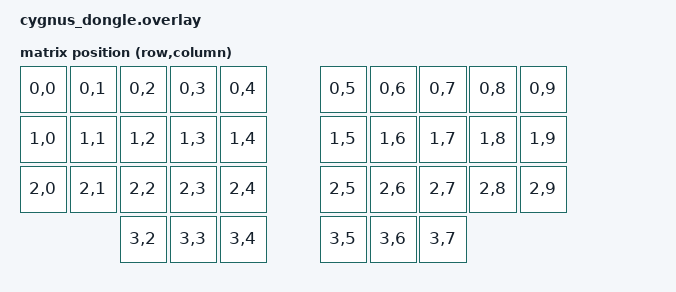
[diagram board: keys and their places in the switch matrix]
#include "cygnus.dtsi"
#include <dt-bindings/xiaord/icons.h>
#include <dt-bindings/zmk/keys.h>
#include <dt-bindings/zmk/outputs.h>
#include <dt-bindings/zmk/matrix_transform.h>

// Dongle has no physical matrix — disable the gpio kscan and use xiaord's mock kscan.
&kscan0 {
    status = "disabled";
};

/ {
    chosen {
        zmk,kscan = &xiaord_mock_kscan;
        zmk,matrix-transform = &default_transform;
    };

    default_transform: keymap_transform_0 {
        compatible = "zmk,matrix-transform";
		columns = <10>;
		rows = <4>;
        row-offset = <4>;
		map = <
				RC(0,0) RC(0,1) RC(0,2) RC(0,3) RC(0,4)         RC(0,5) RC(0,6) RC(0,7) RC(0,8) RC(0,9)
				RC(1,0) RC(1,1) RC(1,2) RC(1,3) RC(1,4)         RC(1,5) RC(1,6) RC(1,7) RC(1,8) RC(1,9)
				RC(2,0) RC(2,1) RC(2,2) RC(2,3) RC(2,4)         RC(2,5) RC(2,6) RC(2,7) RC(2,8) RC(2,9)
								RC(3,2) RC(3,3) RC(3,4)         RC(3,5) RC(3,6) RC(3,7)
		>;
    };
};

// ============================================================
// ICON_* constant definitions:
//   zmk_modules/zmk-module-xiaord/include/dt-bindings/xiaord/icons.h
//
// Each symbol maps 1:1 to an LVGL LV_SYMBOL_* icon.
// Icon reference: https://docs.lvgl.io/9.0/overview/font.html
// ============================================================
// &home_button_0 { symbol = <ICON_UPLOAD>; };     /* 12 o'clock */
// &home_button_1 { symbol = <ICON_KEYBOARD>; };   /*  1 o'clock */
// &home_button_2 { symbol = <ICON_VOLUME_MAX>; }; /*  2 o'clock */
// &home_button_3 { symbol = <ICON_MUTE>; };       /*  3 o'clock */
// &home_button_4 { symbol = <ICON_VOLUME_MID>; }; /*  4 o'clock */
// &home_button_5 { symbol = <ICON_NEXT>; };       /*  5 o'clock */
// &home_button_6 { symbol = <ICON_PLAY>; };       /*  6 o'clock */
// &home_button_7 { symbol = <ICON_PREV>; };       /*  7 o'clock */
// &home_button_8 { symbol = <ICON_WARNING>; };    /*  8 o'clock */
// &home_button_9 { symbol = <ICON_USB>; };        /*  9 o'clock */
// &home_button_10 { symbol = <ICON_BLUETOOTH>; nav-page = <XIAORD_PAGE_BT>; };    /* 10 o'clock */
// &home_button_11 { symbol = <ICON_SETTINGS>; nav-page = <XIAORD_PAGE_CLOCK>; }; /* 11 o'clock */

// &virtual_symbol_behavior {
//     codes = <
//         INPUT_VIRTUAL_POS_0    INPUT_VIRTUAL_POS_1
//         INPUT_VIRTUAL_POS_2    INPUT_VIRTUAL_POS_3
//         INPUT_VIRTUAL_POS_4    INPUT_VIRTUAL_POS_5
//         INPUT_VIRTUAL_POS_6    INPUT_VIRTUAL_POS_7
//         INPUT_VIRTUAL_POS_8    INPUT_VIRTUAL_POS_9
//         INPUT_VIRTUAL_POS_10   INPUT_VIRTUAL_POS_11
//     >;
//     bindings = <
//         &bootloader            &kp CAPSLOCK
//         &kp C_VOL_UP           &kp C_MUTE
//         &kp C_VOL_DN           &kp C_NEXT
//         &kp C_PLAY             &kp C_PREV
//         &kp LC(LA(DEL))        &out OUT_TOG
//         &none                  &none
//     >;
// };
